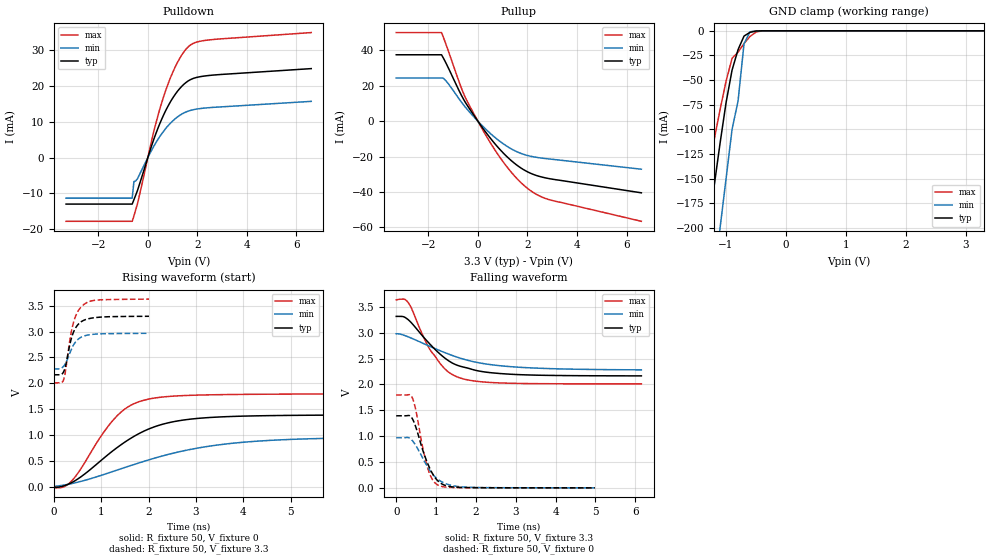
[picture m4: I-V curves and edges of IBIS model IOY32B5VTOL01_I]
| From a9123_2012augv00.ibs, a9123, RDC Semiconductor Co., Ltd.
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[Model]   IOY32B5VTOL01_I
|   IOY32B5VTOL01_I  MODEL
|   DATE   :  2008/8/25 ;
|   REVISION :  0.1.1 ;
|   Model generated   Mon Aug 25 17:59:27 2008
Model_type  I/O
Polarity   Non-Inverting
Enable   Active-Low
| Signals
Vinl = 0.700
Vinh = 2.100
Vmeas = 1.65
| variable   typ   min   max
C_comp   3.707pf   3.614pf   4.133pf
[Model Spec]
|   Subparameter   typ   min   max
Vinh   2.100   2.100   2.100
Vinl   0.700   0.700   0.700
Vmeas   1.650   1.485   1.815
[Temperature Range]   25   125   -40
|   typ   min   max
[Voltage Range]   3.3V   2.97V   3.63V
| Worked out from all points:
|   slope of the pulldown table from 0 to 0.495 V, typ, clamps not added: 51.1 ohm
|   slope of the pullup table from 0 to 0.495 V, typ, clamps not added: 52.4 ohm
|   GND clamp passes 1 mA (typ) near -0.56 V on its own axis
|   rising waveform, R_fixture 50, V_fixture 0: 20-80 % time 1.31ns typ, 2.28ns min, 838ps max; typ from -0.012 V to 1.39 V
|   falling waveform, R_fixture 50, V_fixture 3.3: 20-80 % time 956ps typ, 1.51ns min, 708ps max; typ from 3.31 V to 2.17 V
|   rising waveform, R_fixture 50, V_fixture 3.3: 20-80 % time 197ps typ, 223ps min, 200ps max; typ from 2.16 V to 3.29 V
|   falling waveform, R_fixture 50, V_fixture 0: 20-80 % time 391ps typ, 474ps min, 292ps max; typ from 1.39 V to 0 V
[Pulldown]
|   Voltage   I(typ)   I(min)   I(max)
-3.3V     -12.99mA   -11.33mA   -17.81mA
-630mV    -12.99mA   -11.33mA   -17.81mA
-560mV    -11.76mA   -6.67mA    -16.31mA
-420mV    -9.269mA   -5.936mA   -13.02mA
210mV     4.483mA    2.785mA    6.406mA
630mV     11.82mA    7.32mA     16.87mA
910mV     15.58mA    9.615mA    22.28mA
1.19V     18.5mA     11.35mA    26.54mA
1.4V      20.16mA    12.3mA     29.03mA
1.68V     21.67mA    13.13mA    31.3mA
2.52V     23.02mA    14.01mA    32.98mA
6.6V      24.91mA    15.75mA    35mA
[GND Clamp]
|   Voltage   I(typ)   I(min)   I(max)
-3.3V     -1.21A     -1.3A      -1.15A
-1.4V     -252mA     -350mA     -200mA
-1.3V     -204mA     -300mA     -150mA
-1.2V     -158mA     -250mA     -111mA
-1.1V     -114mA     -200mA     -80mA
-1V       -72.9mA    -150mA     -51.1mA
-900mV    -39.9mA    -100mA     -27.9mA
-800mV    -19.1mA    -71.3mA    -21.7mA
-700mV    -5.32mA    -13mA      -12.9mA
-600mV    -1.53mA    -1.01mA    -5.7mA
-400mV    -13.4uA    -4.88uA    -88.4uA
3.3V      0A         0A         0A
[Pullup]
|   Voltage   I(typ)   I(min)   I(max)
|( VDD-Vmeas )
-3.3V     37.55mA    24.43mA    50.1mA
-1.47V    37.55mA    24.43mA    50.1mA
-1.26V    32.01mA    22.3mA     42.25mA
-560mV    11.89mA    8.867mA    15mA
70mV      -1.413mA   -1.03mA    -1.786mA
560mV     -10.59mA   -7.636mA   -13.47mA
1.05V     -18.34mA   -13.02mA   -23.55mA
1.54V     -24.47mA   -17.01mA   -31.88mA
2.03V     -28.78mA   -19.46mA   -38.24mA
2.45V     -31.04mA   -20.59mA   -41.98mA
2.94V     -32.59mA   -21.41mA   -44.56mA
6.6V      -40.45mA   -27.1mA    -56.54mA
[POWER Clamp]
|   Voltage   I(typ)   I(min)   I(max)
|( VDD-Vmeas )
-3.3V     0A         0A         0A
0V        0A         0A         0A
[Rising Waveform]
R_fixture = 50
V_fixture = 0
V_fixture_min = 0
V_fixture_max = 0
C_fixture = 0
L_fixture = 0
|   Time   V(typ)   V(min)   V(max)
0s        -11.93mV   8.524mV    -13.3mV
232ps     24.58mV    37.56mV    10.12mV
406ps     96.84mV    69.52mV    144.4mV
1.044ns   546.8mV    235.9mV    1.044V
1.392ns   796.8mV    341.7mV    1.423V
1.74ns    1.001V     446.5mV    1.626V
2.146ns   1.168V     560.3mV    1.718V
3.132ns   1.33V      764.7mV    1.774V
4.988ns   1.38V      916.3mV    1.792V
13.22ns   1.393V     967.1mV    1.797V
[Falling Waveform]
R_fixture = 50
V_fixture = 3.3
V_fixture_min = 2.97
V_fixture_max = 3.63
C_fixture = 0
L_fixture = 0
|   Time   V(typ)   V(min)   V(max)
0s        3.315V     2.98V      3.634V
190ps     3.308V     2.952V     3.649V
304ps     3.25V      2.92V      3.579V
684ps     2.917V     2.791V     2.92V
874ps     2.757V     2.726V     2.642V
1.254ns   2.491V     2.605V     2.277V
1.596ns   2.355V     2.511V     2.127V
2.204ns   2.243V     2.402V     2.047V
2.926ns   2.195V     2.341V     2.022V
6.156ns   2.166V     2.282V     2.01V
[Rising Waveform]
R_fixture = 50
V_fixture = 3.3
V_fixture_min = 2.97
V_fixture_max = 3.63
C_fixture = 0
L_fixture = 0
|   Time   V(typ)   V(min)   V(max)
0s        2.164V     2.277V     2.01V
162ps     2.174V     2.295V     2.015V
207ps     2.223V     2.331V     2.07V
243ps     2.318V     2.38V      2.218V
351ps     2.801V     2.612V     2.903V
405ps     2.965V     2.723V     3.141V
495ps     3.118V     2.837V     3.369V
603ps     3.203V     2.902V     3.498V
882ps     3.27V      2.95V      3.605V
2.007ns   3.294V     2.965V     3.625V
[Falling Waveform]
R_fixture = 50
V_fixture = 0
V_fixture_min = 0
V_fixture_max = 0
C_fixture = 0
L_fixture = 0
|   Time   V(typ)   V(min)   V(max)
0s        1.394V     968.3mV    1.797V
396ps     1.35V      921.8mV    1.756V
486ps     1.19V      826.7mV    1.525V
648ps     775.3mV    601.8mV    845.2mV
792ps     467.7mV    400.2mV    382mV
918ps     266.8mV    260mV      149.8mV
1.062ns   123.9mV    156.8mV    48.57mV
1.314ns   30.46mV    62.72mV    10.8mV
1.746ns   6.379mV    13.68mV    4.05mV
4.986ns   486.9uV    857.3uV    273uV
[Ramp]
| variables   typ   min   max
dV/dt_r   0.83622/1.30099n 0.580998/2.29928n 1.0782/832.779p
dV/dt_f   0.68142/953.682p 0.41586/1.53102n 0.97224/707.678p
R_load   = 50.000000 | Ohms
| [End Model]
